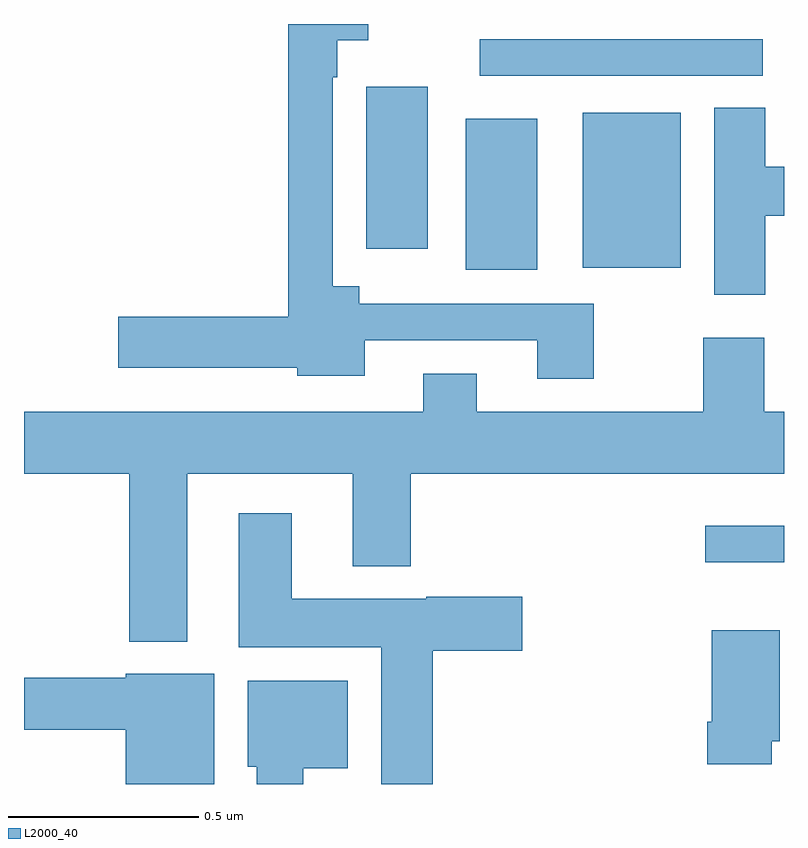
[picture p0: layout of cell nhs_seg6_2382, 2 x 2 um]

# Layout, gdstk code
import gdstk
lib = gdstk.Library(unit=1e-6, precision=1e-09)
def R(c, l, rs):  # rectangles x0, y0, x1, y1
    for r in rs: c.add(gdstk.rectangle(r[:2], r[2:], *l))
def P(c, l, *ps):  # polygons
    for p in ps: c.add(gdstk.Polygon(p, *l))
L2000_40 = (2000, 40)

nhs_seg6_2382 = lib.new_cell('nhs_seg6_2382')
R(nhs_seg6_2382, L2000_40, [(143.793,967.083,144,967.18), (143.162,967.853,143.35,968.251), (143.471,967.859,143.728,968.266), (142.901,967.908,143.062,968.335), (143.199,968.364,143.944,968.46)])
P(nhs_seg6_2382, L2000_40, [(143.499,967.764),(142.882,967.764),(142.882,967.81),(142.812,967.81),(142.812,968.36),(142.824,968.36),(142.824,968.457),(142.906,968.457),(142.906,968.5),(142.696,968.5),(142.696,967.73),(142.248,967.73),(142.248,967.595),(142.719,967.595),(142.719,967.574),(142.897,967.574),(142.897,967.668),(143.351,967.668),(143.351,967.566),(143.499,967.566)],
  [(143.95,967.996),(144,967.996),(144,968.125),(143.95,968.125),(143.95,968.279),(143.816,968.279),(143.816,967.788),(143.95,967.788)],
  [(142.429,967.316),(142.865,967.316),(142.865,967.073),(143.018,967.073),(143.018,967.316),(144,967.316),(144,967.48),(143.948,967.48),(143.948,967.675),(143.788,967.675),(143.788,967.48),(143.191,967.48),(143.191,967.579),(143.051,967.579),(143.051,967.48),(142,967.48),(142,967.316),(142.277,967.316),(142.277,966.875),(142.429,966.875)],
  [(143.075,966.851),(143.311,966.851),(143.311,966.993),(143.058,966.993),(143.058,966.988),(142.705,966.988),(142.705,967.213),(142.565,967.213),(142.565,966.86),(142.94,966.86),(142.94,966.5),(143.075,966.5)],
  [(143.968,966.612),(143.989,966.612),(143.989,966.904),(143.81,966.904),(143.81,966.664),(143.798,966.664),(143.798,966.552),(143.968,966.552)],
  [(142.501,966.79),(142.268,966.79),(142.268,966.779),(142,966.779),(142,966.643),(142.268,966.643),(142.268,966.5),(142.501,966.5)],
  [(142.735,966.542),(142.852,966.542),(142.852,966.772),(142.589,966.772),(142.589,966.546),(142.613,966.546),(142.613,966.5),(142.735,966.5)])

lib.write_gds('nhs_seg6_2382.gds')
